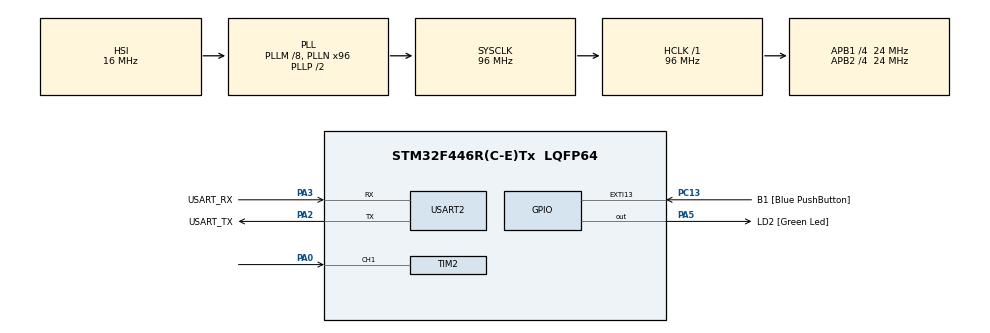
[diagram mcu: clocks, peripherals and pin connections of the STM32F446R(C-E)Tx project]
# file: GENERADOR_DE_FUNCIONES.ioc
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Mcu.Family=STM32F4
Mcu.Name=STM32F446R(C-E)Tx
Mcu.Package=LQFP64
NVIC.PriorityGroup=NVIC_PRIORITYGROUP_0
NVIC.TIM2_IRQn=true\:0\:0\:false\:false\:true\:true\:true\:true
PA0-WKUP.Signal=S_TIM2_CH1_ETR
PA13.GPIO_Label=TMS
PA13.Mode=Serial_Wire
PA13.Signal=SYS_JTMS-SWDIO
PA14.GPIO_Label=TCK
PA14.Mode=Serial_Wire
PA14.Signal=SYS_JTCK-SWCLK
PA2.GPIO_Label=USART_TX
PA2.Mode=Asynchronous
PA2.Signal=USART2_TX
PA3.GPIO_Label=USART_RX
PA3.Mode=Asynchronous
PA3.Signal=USART2_RX
PA5.GPIO_Label=LD2 [Green Led]
PA5.Signal=GPIO_Output
PB3.GPIO_Label=SWO
PB3.Signal=SYS_JTDO-SWO
PC13.GPIO_Label=B1 [Blue PushButton]
PC13.GPIO_ModeDefaultEXTI=GPIO_MODE_IT_FALLING
PC13.Signal=GPXTI13
PC14-OSC32_IN.Mode=LSE-External-Oscillator
PC14-OSC32_IN.Signal=RCC_OSC32_IN
PC15-OSC32_OUT.Mode=LSE-External-Oscillator
PC15-OSC32_OUT.Signal=RCC_OSC32_OUT
PH0-OSC_IN.Mode=HSE-External-Oscillator
PH0-OSC_IN.Signal=RCC_OSC_IN
PH1-OSC_OUT.Mode=HSE-External-Oscillator
PH1-OSC_OUT.Signal=RCC_OSC_OUT
ProjectManager.HeapSize=0x200
ProjectManager.StackSize=0x400
ProjectManager.TargetToolchain=EWARM V8.50
RCC.48MHZClocksFreq_Value=84000000
RCC.AHBFreq_Value=96000000
RCC.APB1CLKDivider=RCC_HCLK_DIV4
RCC.APB1Freq_Value=24000000
RCC.APB1TimFreq_Value=48000000
RCC.APB2CLKDivider=RCC_HCLK_DIV4
RCC.APB2Freq_Value=24000000
RCC.APB2TimFreq_Value=48000000
RCC.CortexFreq_Value=96000000
RCC.FLatency-AdvancedSettings=FLASH_LATENCY_3
RCC.HCLKFreq_Value=96000000
RCC.HSE_VALUE=8000000
RCC.HSI_VALUE=16000000
RCC.PLLM=8
RCC.PLLN=96
RCC.SYSCLKFreq_VALUE=96000000
RCC.SYSCLKSource=RCC_SYSCLKSOURCE_PLLCLK
RCC.USBFreq_Value=96000000
RCC.VCOOutputFreq_Value=192000000
SH.S_TIM2_CH1_ETR.0=TIM2_CH1,Input_Capture1_from_TI1
TIM2.AutoReloadPreload=TIM_AUTORELOAD_PRELOAD_ENABLE
TIM2.Channel-Input_Capture1_from_TI1=TIM_CHANNEL_1
TIM2.CounterMode=TIM_COUNTERMODE_DOWN
TIM2.Prescaler=48-1
USART2.VirtualMode=VM_ASYNC
VP_TIM2_VS_ClockSourceINT.Mode=Internal
board=NUCLEO-F446RE

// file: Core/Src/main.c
/* USER CODE BEGIN Header */
/**
  ******************************************************************************
  * @file           : main.c
  * @brief          : Main program body
  ******************************************************************************
  * @attention
  *
  * Copyright (c) 2026 STMicroelectronics.
  * All rights reserved.
  *
  * This software is licensed under terms that can be found in the LICENSE file
  * in the root directory of this software component.
  * If no LICENSE file comes with this software, it is provided AS-IS.
  *
  ******************************************************************************
  */
/* USER CODE END Header */
#include "main.h"

/* USER CODE BEGIN Includes */
#include "stdint.h"
/* USER CODE END Includes */

/* USER CODE BEGIN PTD */
#define ftimclick 1000000
/* USER CODE END PTD */

TIM_HandleTypeDef htim2;

UART_HandleTypeDef huart2;

/* USER CODE BEGIN PV */
uint8_t flagmedicion = 0;
volatile uint8_t numflanco = 0;
volatile uint8_t flanco1 = 0;
volatile uint8_t flanco2 = 0;
uint16 delta = 0;
float frecuencia;

/* USER CODE END PV */

void SystemClock_Config(void);
static void MX_GPIO_Init(void);
static void MX_TIM2_Init(void);
static void MX_USART2_UART_Init(void);
/* USER CODE BEGIN PFP */
void HAL_TIM_IC_CaptureCallback(TIM_HandleTypeDef *htim);
/* USER CODE END PFP */

int main(void)
{

  /* MCU Configuration--------------------------------------------------------*/

  /* Reset of all peripherals, Initializes the Flash interface and the Systick. */
  HAL_Init();

  /* Configure the system clock */
  SystemClock_Config();

  /* Initialize all configured peripherals */
  MX_GPIO_Init();
  MX_TIM2_Init();
  MX_USART2_UART_Init();

  /* Infinite loop */
  /* USER CODE BEGIN WHILE */
  while (1)
  {
	  HAL_TIM_IC_START_IT(&htim2, TIM_CHANNEL_1);
	  while(flagmedicion = 0){
	  }
	  flagmedicion = 0;
	  delta = flanco2 - flanco1;
	  frecuencia = (ftimclk/ (float) delta);
    /* USER CODE END WHILE */

  }
}

void SystemClock_Config(void)
{
  RCC_OscInitTypeDef RCC_OscInitStruct = {0};
  RCC_ClkInitTypeDef RCC_ClkInitStruct = {0};

  /** Configure the main internal regulator output voltage
  */
  __HAL_RCC_PWR_CLK_ENABLE();
  __HAL_PWR_VOLTAGESCALING_CONFIG(PWR_REGULATOR_VOLTAGE_SCALE3);

  /** Initializes the RCC Oscillators according to the specified parameters
  * in the RCC_OscInitTypeDef structure.
  */
  RCC_OscInitStruct.OscillatorType = RCC_OSCILLATORTYPE_HSI;
  RCC_OscInitStruct.HSIState = RCC_HSI_ON;
  RCC_OscInitStruct.HSICalibrationValue = RCC_HSICALIBRATION_DEFAULT;
  RCC_OscInitStruct.PLL.PLLState = RCC_PLL_ON;
  RCC_OscInitStruct.PLL.PLLSource = RCC_PLLSOURCE_HSI;
  RCC_OscInitStruct.PLL.PLLM = 8;
  RCC_OscInitStruct.PLL.PLLN = 96;
  RCC_OscInitStruct.PLL.PLLP = RCC_PLLP_DIV2;
  RCC_OscInitStruct.PLL.PLLQ = 2;
  RCC_OscInitStruct.PLL.PLLR = 2;
  if (HAL_RCC_OscConfig(&RCC_OscInitStruct) != HAL_OK)
  {
    Error_Handler();
  }

  /** Initializes the CPU, AHB and APB buses clocks
  */
  RCC_ClkInitStruct.ClockType = RCC_CLOCKTYPE_HCLK|RCC_CLOCKTYPE_SYSCLK
                              |RCC_CLOCKTYPE_PCLK1|RCC_CLOCKTYPE_PCLK2;
  RCC_ClkInitStruct.SYSCLKSource = RCC_SYSCLKSOURCE_PLLCLK;
  RCC_ClkInitStruct.AHBCLKDivider = RCC_SYSCLK_DIV1;
  RCC_ClkInitStruct.APB1CLKDivider = RCC_HCLK_DIV4;
  RCC_ClkInitStruct.APB2CLKDivider = RCC_HCLK_DIV4;

  if (HAL_RCC_ClockConfig(&RCC_ClkInitStruct, FLASH_LATENCY_3) != HAL_OK)
  {
    Error_Handler();
  }
}

static void MX_TIM2_Init(void)
{

  TIM_ClockConfigTypeDef sClockSourceConfig = {0};
  TIM_MasterConfigTypeDef sMasterConfig = {0};
  TIM_IC_InitTypeDef sConfigIC = {0};

  htim2.Instance = TIM2;
  htim2.Init.Prescaler = 48-1;
  htim2.Init.CounterMode = TIM_COUNTERMODE_DOWN;
  htim2.Init.Period = 4294967295;
  htim2.Init.ClockDivision = TIM_CLOCKDIVISION_DIV1;
  htim2.Init.AutoReloadPreload = TIM_AUTORELOAD_PRELOAD_ENABLE;
  if (HAL_TIM_Base_Init(&htim2) != HAL_OK)
  {
    Error_Handler();
  }
  sClockSourceConfig.ClockSource = TIM_CLOCKSOURCE_INTERNAL;
  if (HAL_TIM_ConfigClockSource(&htim2, &sClockSourceConfig) != HAL_OK)
  {
    Error_Handler();
  }
  if (HAL_TIM_IC_Init(&htim2) != HAL_OK)
  {
    Error_Handler();
  }
  sMasterConfig.MasterOutputTrigger = TIM_TRGO_RESET;
  sMasterConfig.MasterSlaveMode = TIM_MASTERSLAVEMODE_DISABLE;
  if (HAL_TIMEx_MasterConfigSynchronization(&htim2, &sMasterConfig) != HAL_OK)
  {
    Error_Handler();
  }
  sConfigIC.ICPolarity = TIM_INPUTCHANNELPOLARITY_RISING;
  sConfigIC.ICSelection = TIM_ICSELECTION_DIRECTTI;
  sConfigIC.ICPrescaler = TIM_ICPSC_DIV1;
  sConfigIC.ICFilter = 0;
  if (HAL_TIM_IC_ConfigChannel(&htim2, &sConfigIC, TIM_CHANNEL_1) != HAL_OK)
  {
    Error_Handler();
  }

}

static void MX_USART2_UART_Init(void)
{

  huart2.Instance = USART2;
  huart2.Init.BaudRate = 115200;
  huart2.Init.WordLength = UART_WORDLENGTH_8B;
  huart2.Init.StopBits = UART_STOPBITS_1;
  huart2.Init.Parity = UART_PARITY_NONE;
  huart2.Init.Mode = UART_MODE_TX_RX;
  huart2.Init.HwFlowCtl = UART_HWCONTROL_NONE;
  huart2.Init.OverSampling = UART_OVERSAMPLING_16;
  if (HAL_UART_Init(&huart2) != HAL_OK)
  {
    Error_Handler();
  }

}

static void MX_GPIO_Init(void)
{
  GPIO_InitTypeDef GPIO_InitStruct = {0};

  /* GPIO Ports Clock Enable */
  __HAL_RCC_GPIOC_CLK_ENABLE();
  __HAL_RCC_GPIOH_CLK_ENABLE();
  __HAL_RCC_GPIOA_CLK_ENABLE();
  __HAL_RCC_GPIOB_CLK_ENABLE();

  /*Configure GPIO pin Output Level */
  HAL_GPIO_WritePin(LD2_GPIO_Port, LD2_Pin, GPIO_PIN_RESET);

  /*Configure GPIO pin : B1_Pin */
  GPIO_InitStruct.Pin = B1_Pin;
  GPIO_InitStruct.Mode = GPIO_MODE_IT_FALLING;
  GPIO_InitStruct.Pull = GPIO_NOPULL;
  HAL_GPIO_Init(B1_GPIO_Port, &GPIO_InitStruct);

  /*Configure GPIO pin : LD2_Pin */
  GPIO_InitStruct.Pin = LD2_Pin;
  GPIO_InitStruct.Mode = GPIO_MODE_OUTPUT_PP;
  GPIO_InitStruct.Pull = GPIO_NOPULL;
  GPIO_InitStruct.Speed = GPIO_SPEED_FREQ_LOW;
  HAL_GPIO_Init(LD2_GPIO_Port, &GPIO_InitStruct);

}

/* USER CODE BEGIN 4 */
void HAL_TIM_IC_CaptureCallback(TIM_HandleTypeDef *htim){
	if(numFlanco == 0){
		flanco1 = HAL_TIM_ReadCapturedValue(htim, TIM_CHANNEL_1);
	}
	else {
		flanco2 = HAL_TIM_ReadCapturedValue(htim, TIM_CHANNEL_1);
		HAL_TIM_IC_Stop(&htim2, TIM_CHANNEL_1);
		numFlanco = 0;
		flagmedicion = 1;

	}
}
/* USER CODE END 4 */

void Error_Handler(void)
{
  __disable_irq();
  while (1)
  {
  }
}
